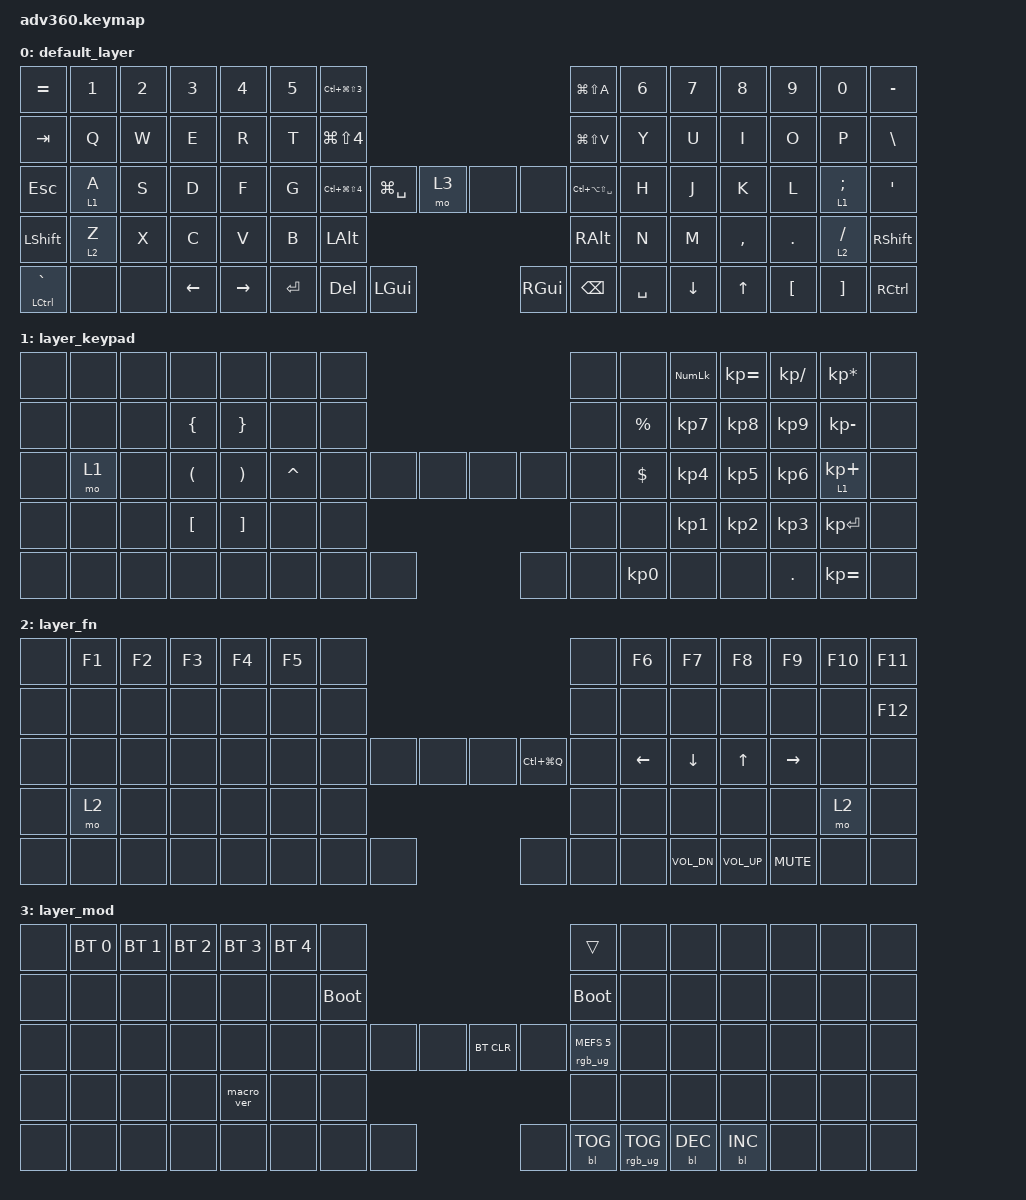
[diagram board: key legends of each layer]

/*
 * Copyright (c) 2020 The ZMK Contributors
 *
 * SPDX-License-Identifier: MIT
 */


/* THIS FILE WAS GENERATED!
 *
 * This file was generated automatically. You may or may not want to
 * edit it directly.
 */

#include <behaviors.dtsi>
#include <dt-bindings/zmk/keys.h>
#include <dt-bindings/zmk/bt.h>
#include <dt-bindings/zmk/rgb.h>
#include <dt-bindings/zmk/backlight.h>

/ {
  behaviors {
    #include "macros.dtsi"
    #include "version.dtsi"

    hm: homerow_mods {
        compatible = "zmk,behavior-hold-tap";
        label = "HOMEROW_MODS";
        #binding-cells = <2>;
        tapping-term-ms = <200>;
        quick_tap_ms = <175>;
        flavor = "tap-preferred";
        bindings = <&kp>, <&kp>;
    };
  };

    keymap {
        compatible = "zmk,keymap";


        default_layer {
            bindings = <
       &kp EQUAL   &kp N1  &kp N2    &kp N3     &kp N4  &kp N5            &kp LC(LG(LS(NUMBER_3)))                                                                            &kp LG(LS(A))  &kp N6    &kp N7     &kp N8    &kp N9           &kp N0  &kp MINUS
         &kp TAB    &kp Q   &kp W     &kp E      &kp R   &kp T                &kp LG(LS(NUMBER_4))                                                                            &kp LG(LS(V))   &kp Y     &kp U      &kp I     &kp O            &kp P   &kp BSLH
         &kp ESC  &lt 1 A   &kp S     &kp D      &kp F   &kp G            &kp LC(LG(LS(NUMBER_4)))  &kp LG(SPACE)     &mo 3                     &none          &none  &kp LC(LA(LS(SPACE)))   &kp H     &kp J      &kp K     &kp L  &lt 1 SEMICOLON    &kp SQT
       &kp LSHFT  &lt 2 Z   &kp X     &kp C      &kp V   &kp B                                                     &kp LALT                  &kp RALT                                         &kp N     &kp M  &kp COMMA   &kp DOT       &lt 2 FSLH  &kp RSHFT
 &mt LCTRL GRAVE    &none   &none  &kp LEFT  &kp RIGHT                                   &kp ENTER        &kp DEL  &kp LGUI                  &kp RGUI  &kp BACKSPACE              &kp SPACE          &kp DOWN     &kp UP  &kp LBKT         &kp RBKT  &kp RCTRL
            >;
        };

        layer_keypad {
            bindings = <
  &none   &none   &none                 &none                  &none      &none            &none                                                      &none        &none  &kp KP_NUM  &kp KP_EQUAL  &kp KP_SLASH  &kp KP_MULTIPLY   &none
  &none   &none   &none        &kp LEFT_BRACE        &kp RIGHT_BRACE      &none            &none                                                      &none  &kp PERCENT   &kp KP_N7     &kp KP_N8     &kp KP_N9     &kp KP_MINUS   &none
  &none   &mo 1   &none  &kp LEFT_PARENTHESIS  &kp RIGHT_PARENTHESIS  &kp CARET            &none   &none   &none                   &none   &none      &none   &kp DOLLAR   &kp KP_N4     &kp KP_N5     &kp KP_N6    &lt 1 KP_PLUS   &none
  &none   &none   &none      &kp LEFT_BRACKET      &kp RIGHT_BRACKET      &none                            &none                   &none                           &none   &kp KP_N1     &kp KP_N2     &kp KP_N3     &kp KP_ENTER   &none
  &none   &none   &none                 &none                  &none                       &none   &none   &none                   &none   &none  &kp KP_N0                    &none         &none    &kp PERIOD     &kp KP_EQUAL   &none
            >;
        };

        layer_fn {
            bindings = <
  &none  &kp F1  &kp F2  &kp F3  &kp F4  &kp F5            &none                                                          &none    &kp F6        &kp F7        &kp F8      &kp F9  &kp F10  &kp F11
  &none   &none   &none   &none   &none   &none            &none                                                          &none     &none         &none         &none       &none    &none  &kp F12
  &none   &none   &none   &none   &none   &none            &none   &none   &none                   &none  &kp LC(LG(Q))   &none  &kp LEFT      &kp DOWN        &kp UP   &kp RIGHT    &none    &none
  &none   &mo 2   &none   &none   &none   &none                            &none                   &none                            &none         &none         &none       &none    &mo 2    &none
  &none   &none   &none   &none   &none                    &none   &none   &none                   &none          &none   &none            &kp C_VOL_DN  &kp C_VOL_UP  &kp C_MUTE    &none    &none
            >;
        };

        layer_mod {
            bindings = <
  &none  &bt BT_SEL 0  &bt BT_SEL 1  &bt BT_SEL 2  &bt BT_SEL 3  &bt BT_SEL 4                  &none                                                                          &trans   &none       &none       &none   &none   &none   &none
  &none         &none         &none         &none         &none         &none            &bootloader                                                                     &bootloader   &none       &none       &none   &none   &none   &none
  &none         &none         &none         &none         &none         &none                  &none   &none   &none                  &bt BT_CLR       &none  &rgb_ug RGB_MEFS_CMD 5   &none       &none       &none   &none   &none   &none
  &none         &none         &none         &none    &macro_ver         &none                                  &none                       &none                                       &none       &none       &none   &none   &none   &none
  &none         &none         &none         &none         &none                                &none   &none   &none                       &none  &bl BL_TOG         &rgb_ug RGB_TOG          &bl BL_DEC  &bl BL_INC   &none   &none   &none
            >;
        };

    };
};
